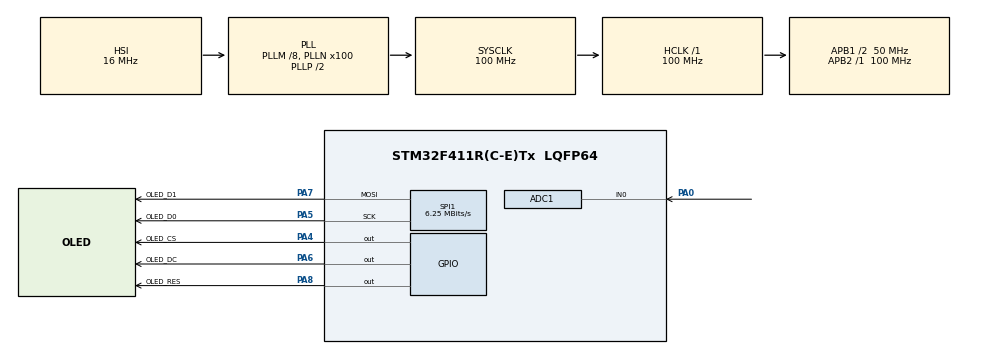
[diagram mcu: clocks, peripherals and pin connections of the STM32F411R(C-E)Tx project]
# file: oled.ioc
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ADC1.Channel-1\#ChannelRegularConversion=ADC_CHANNEL_0
ADC1.ClockPrescaler=ADC_CLOCK_SYNC_PCLK_DIV8
ADC1.DMAContinuousRequests=ENABLE
ADC1.ExternalTrigConv=ADC_EXTERNALTRIGCONV_T2_TRGO
ADC1.InjNumberOfConversion=0
ADC1.NbrOfConversionFlag=1
ADC1.Rank-1\#ChannelRegularConversion=1
ADC1.SamplingTime-1\#ChannelRegularConversion=ADC_SAMPLETIME_3CYCLES
ADC1.master=1
Dma.ADC1.0.Direction=DMA_PERIPH_TO_MEMORY
Dma.ADC1.0.FIFOMode=DMA_FIFOMODE_DISABLE
Dma.ADC1.0.Instance=DMA2_Stream0
Dma.ADC1.0.MemDataAlignment=DMA_MDATAALIGN_HALFWORD
Dma.ADC1.0.MemInc=DMA_MINC_ENABLE
Dma.ADC1.0.Mode=DMA_CIRCULAR
Dma.ADC1.0.PeriphDataAlignment=DMA_PDATAALIGN_HALFWORD
Dma.ADC1.0.PeriphInc=DMA_PINC_DISABLE
Dma.ADC1.0.Priority=DMA_PRIORITY_LOW
Dma.Request0=ADC1
Mcu.Family=STM32F4
Mcu.Name=STM32F411R(C-E)Tx
Mcu.Package=LQFP64
NVIC.DMA2_Stream0_IRQn=true\:0\:0\:false\:false\:true\:false\:true\:true
NVIC.PriorityGroup=NVIC_PRIORITYGROUP_4
NVIC.TIM2_IRQn=true\:0\:0\:false\:false\:true\:true\:true\:true
PA0-WKUP.Signal=ADCx_IN0
PA4.GPIO_Label=OLED_CS
PA4.Signal=GPIO_Output
PA5.GPIO_Label=OLED_D0
PA5.Mode=TX_Only_Simplex_Unidirect_Master
PA5.Signal=SPI1_SCK
PA6.GPIO_Label=OLED_DC
PA6.Signal=GPIO_Output
PA7.GPIO_Label=OLED_D1
PA7.Mode=TX_Only_Simplex_Unidirect_Master
PA7.Signal=SPI1_MOSI
PA8.GPIO_Label=OLED_RES
PA8.Signal=GPIO_Output
ProjectManager.HeapSize=0x200
ProjectManager.StackSize=0x400
ProjectManager.TargetToolchain=STM32CubeIDE
RCC.48MHZClocksFreq_Value=50000000
RCC.AHBFreq_Value=100000000
RCC.APB1CLKDivider=RCC_HCLK_DIV2
RCC.APB1Freq_Value=50000000
RCC.APB1TimFreq_Value=100000000
RCC.APB2Freq_Value=100000000
RCC.APB2TimFreq_Value=100000000
RCC.CortexFreq_Value=100000000
RCC.HCLKFreq_Value=100000000
RCC.HSE_VALUE=25000000
RCC.HSI_VALUE=16000000
RCC.LSE_VALUE=32768
RCC.PLLM=8
RCC.PLLN=100
RCC.SYSCLKFreq_VALUE=100000000
RCC.SYSCLKSource=RCC_SYSCLKSOURCE_PLLCLK
RCC.VCOOutputFreq_Value=200000000
SH.ADCx_IN0.0=ADC1_IN0,IN0
SPI1.BaudRatePrescaler=SPI_BAUDRATEPRESCALER_16
SPI1.CLKPhase=SPI_PHASE_2EDGE
SPI1.CLKPolarity=SPI_POLARITY_HIGH
SPI1.CalculateBaudRate=6.25 MBits/s
SPI1.Direction=SPI_DIRECTION_2LINES
SPI1.Mode=SPI_MODE_MASTER
SPI1.VirtualType=VM_MASTER
TIM2.Period=25-1
TIM2.Prescaler=100-1
TIM2.TIM_MasterOutputTrigger=TIM_TRGO_UPDATE
VP_TIM2_VS_ClockSourceINT.Mode=Internal
board=custom

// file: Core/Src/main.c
/* USER CODE BEGIN Header */
/**
 ******************************************************************************
 * @file           : main.c
 * @brief          : Main program body
 ******************************************************************************
 * @attention
 *
 * Copyright (c) 2024 STMicroelectronics.
 * All rights reserved.
 *
 * This software is licensed under terms that can be found in the LICENSE file
 * in the root directory of this software component.
 * If no LICENSE file comes with this software, it is provided AS-IS.
 *
 ******************************************************************************
 */
/* USER CODE END Header */
#include "main.h"

/* USER CODE BEGIN Includes */
#include "u8g2/u8g2.h"
#include <math.h>
#include "arm_math.h"
/* USER CODE END Includes */

/* USER CODE BEGIN PD */
#define FFT_Length 1024

/* USER CODE END PD */

ADC_HandleTypeDef hadc1;
DMA_HandleTypeDef hdma_adc1;

SPI_HandleTypeDef hspi1;

TIM_HandleTypeDef htim2;

/* USER CODE BEGIN PV */
float32_t FFT_Input_Q15_f[50];
float32_t aFFT_Input_Q15[50];

/* USER CODE END PV */

void SystemClock_Config(void);
static void MX_GPIO_Init(void);
static void MX_DMA_Init(void);
static void MX_SPI1_Init(void);
static void MX_ADC1_Init(void);
static void MX_TIM2_Init(void);
/* USER CODE BEGIN PFP */
extern uint8_t u8x8_stm32_gpio_and_delay(u8x8_t *u8x8, uint8_t msg,
		uint8_t arg_int, void *arg_ptr);
extern uint8_t u8x8_byte_stm32_hw_spi(u8x8_t *u8x8, uint8_t msg,
		uint8_t arg_int, void *arg_ptr);
/* USER CODE END PFP */

/* USER CODE BEGIN 0 */
static u8g2_t u8g2;
uint32_t doConvert = 128;
//fft
#define SamplesFft 2048
#define SamplingRate 40000
uint16_t adValue[SamplesFft];
float32_t input[SamplesFft];
float32_t output[SamplesFft];

void HAL_TIM_PeriodElapsedCallback(TIM_HandleTypeDef *hTim) {
	if (doConvert > 0)
		doConvert--;
}
/* USER CODE END 0 */

int main(void)
{

  /* USER CODE BEGIN 1 */
			//arm_float_to_q15((float32_t*)&FFT_Input_Q15_f[0],(q15_t*)&aFFT_Input_Q15[0],FFT_Length*2);
  /* USER CODE END 1 */

  /* MCU Configuration--------------------------------------------------------*/

  /* Reset of all peripherals, Initializes the Flash interface and the Systick. */
  HAL_Init();

  /* Configure the system clock */
  SystemClock_Config();

  /* Initialize all configured peripherals */
  MX_GPIO_Init();
  MX_DMA_Init();
  MX_SPI1_Init();
  MX_ADC1_Init();
  MX_TIM2_Init();
  /* USER CODE BEGIN 2 */
	uint16_t adcValue[SamplesFft];
	HAL_ADC_Start_DMA(&hadc1, (uint32_t*) adcValue, SamplesFft);
	HAL_TIM_Base_Start_IT(&htim2);
	//setup ssd1306
	u8g2_Setup_ssd1306_128x64_noname_f(&u8g2, U8G2_R0, u8x8_byte_stm32_hw_spi,
			u8x8_stm32_gpio_and_delay);
	//init ssd1306
	u8g2_InitDisplay(&u8g2);
	u8g2_SetPowerSave(&u8g2, 0);
//
  u8g2_ClearBuffer(&u8g2);
//  u8g2_SetDrawColor(&u8g2, 1);
	// u8g2_SetFont(&u8g2, u8g2_font_5x7_mf);
	// u8g2_DrawStr(&u8g2, 0, 0, "Hello world");
	// korean font
//  u8g2_SetFont(&u8g2, u8g2_font_unifont_t_korean1);
//  u8g2_DrawUTF8(&u8g2, 2, 30, "?��?��? ?��?��구니?");
//  u8g2_SendBuffer(&u8g2);

  /* USER CODE END 2 */

  /* Infinite loop */
  /* USER CODE BEGIN WHILE */
	u8g2_SetDrawColor(&u8g2, 1);
	//initialize FFT
	arm_rfft_fast_instance_f32 fftInstance;
	arm_rfft_fast_init_f32(&fftInstance, SamplesFft);
	while (1) {
			if (doConvert==0){
			doConvert = SamplesFft;
			//date move
			for(int i=0; i<SamplesFft; i++){
				input[i] =(float32_t)adcValue[i];
			}
			//cal fft
			arm_rfft_fast_f32(&fftInstance,input,output,0);
			//search frequency
			float32_t magnitude[SamplesFft /2];
			arm_cmplx_mag_f32(output, magnitude, SamplesFft/2);

			uint32_t maxIndex = 0;
			float32_t maxValue = 0;
			for (int i =1; i<SamplesFft/2; i++){
				if(magnitude[i]>maxValue){
					maxValue = magnitude[i];
					maxIndex = i;
				}
			}

			float frequency = maxIndex *((float)SamplingRate/(float)SamplesFft);
			//align data
			uint32_t showData[128] = {0, };
			for(int i =0; i<128; i++){
				for(int j =0; j<8; j++){
					showData[i] += output[i*8+j];
				}
				showData[i] /= 64;
			}
			//show display
			u8g2_ClearBuffer(&u8g2);
			for (int x = 2; x < 128; x++) {
				if(showData[x] > 63) showData[x] = 63;
				u8g2_DrawLine(&u8g2, x,63,x, 64-showData[x]);
			}
			char str[20];
			sprintf(str, "%5d", (int)frequency);
			u8g2_DrawStr(&u8g2,70,10,str);
			u8g2_SendBuffer(&u8g2);
		}

    /* USER CODE END WHILE */

	}
}

void SystemClock_Config(void)
{
  RCC_OscInitTypeDef RCC_OscInitStruct = {0};
  RCC_ClkInitTypeDef RCC_ClkInitStruct = {0};

  /** Configure the main internal regulator output voltage
  */
  __HAL_RCC_PWR_CLK_ENABLE();
  __HAL_PWR_VOLTAGESCALING_CONFIG(PWR_REGULATOR_VOLTAGE_SCALE1);

  /** Initializes the RCC Oscillators according to the specified parameters
  * in the RCC_OscInitTypeDef structure.
  */
  RCC_OscInitStruct.OscillatorType = RCC_OSCILLATORTYPE_HSI;
  RCC_OscInitStruct.HSIState = RCC_HSI_ON;
  RCC_OscInitStruct.HSICalibrationValue = RCC_HSICALIBRATION_DEFAULT;
  RCC_OscInitStruct.PLL.PLLState = RCC_PLL_ON;
  RCC_OscInitStruct.PLL.PLLSource = RCC_PLLSOURCE_HSI;
  RCC_OscInitStruct.PLL.PLLM = 8;
  RCC_OscInitStruct.PLL.PLLN = 100;
  RCC_OscInitStruct.PLL.PLLP = RCC_PLLP_DIV2;
  RCC_OscInitStruct.PLL.PLLQ = 4;
  if (HAL_RCC_OscConfig(&RCC_OscInitStruct) != HAL_OK)
  {
    Error_Handler();
  }

  /** Initializes the CPU, AHB and APB buses clocks
  */
  RCC_ClkInitStruct.ClockType = RCC_CLOCKTYPE_HCLK|RCC_CLOCKTYPE_SYSCLK
                              |RCC_CLOCKTYPE_PCLK1|RCC_CLOCKTYPE_PCLK2;
  RCC_ClkInitStruct.SYSCLKSource = RCC_SYSCLKSOURCE_PLLCLK;
  RCC_ClkInitStruct.AHBCLKDivider = RCC_SYSCLK_DIV1;
  RCC_ClkInitStruct.APB1CLKDivider = RCC_HCLK_DIV2;
  RCC_ClkInitStruct.APB2CLKDivider = RCC_HCLK_DIV1;

  if (HAL_RCC_ClockConfig(&RCC_ClkInitStruct, FLASH_LATENCY_3) != HAL_OK)
  {
    Error_Handler();
  }
}

static void MX_ADC1_Init(void)
{

  ADC_ChannelConfTypeDef sConfig = {0};

  /** Configure the global features of the ADC (Clock, Resolution, Data Alignment and number of conversion)
  */
  hadc1.Instance = ADC1;
  hadc1.Init.ClockPrescaler = ADC_CLOCK_SYNC_PCLK_DIV8;
  hadc1.Init.Resolution = ADC_RESOLUTION_12B;
  hadc1.Init.ScanConvMode = DISABLE;
  hadc1.Init.ContinuousConvMode = DISABLE;
  hadc1.Init.DiscontinuousConvMode = DISABLE;
  hadc1.Init.ExternalTrigConvEdge = ADC_EXTERNALTRIGCONVEDGE_RISING;
  hadc1.Init.ExternalTrigConv = ADC_EXTERNALTRIGCONV_T2_TRGO;
  hadc1.Init.DataAlign = ADC_DATAALIGN_RIGHT;
  hadc1.Init.NbrOfConversion = 1;
  hadc1.Init.DMAContinuousRequests = ENABLE;
  hadc1.Init.EOCSelection = ADC_EOC_SINGLE_CONV;
  if (HAL_ADC_Init(&hadc1) != HAL_OK)
  {
    Error_Handler();
  }

  /** Configure for the selected ADC regular channel its corresponding rank in the sequencer and its sample time.
  */
  sConfig.Channel = ADC_CHANNEL_0;
  sConfig.Rank = 1;
  sConfig.SamplingTime = ADC_SAMPLETIME_3CYCLES;
  if (HAL_ADC_ConfigChannel(&hadc1, &sConfig) != HAL_OK)
  {
    Error_Handler();
  }

}

static void MX_SPI1_Init(void)
{

  /* SPI1 parameter configuration*/
  hspi1.Instance = SPI1;
  hspi1.Init.Mode = SPI_MODE_MASTER;
  hspi1.Init.Direction = SPI_DIRECTION_2LINES;
  hspi1.Init.DataSize = SPI_DATASIZE_8BIT;
  hspi1.Init.CLKPolarity = SPI_POLARITY_HIGH;
  hspi1.Init.CLKPhase = SPI_PHASE_2EDGE;
  hspi1.Init.NSS = SPI_NSS_SOFT;
  hspi1.Init.BaudRatePrescaler = SPI_BAUDRATEPRESCALER_16;
  hspi1.Init.FirstBit = SPI_FIRSTBIT_MSB;
  hspi1.Init.TIMode = SPI_TIMODE_DISABLE;
  hspi1.Init.CRCCalculation = SPI_CRCCALCULATION_DISABLE;
  hspi1.Init.CRCPolynomial = 10;
  if (HAL_SPI_Init(&hspi1) != HAL_OK)
  {
    Error_Handler();
  }

}

static void MX_TIM2_Init(void)
{

  TIM_ClockConfigTypeDef sClockSourceConfig = {0};
  TIM_MasterConfigTypeDef sMasterConfig = {0};

  htim2.Instance = TIM2;
  htim2.Init.Prescaler = 100-1;
  htim2.Init.CounterMode = TIM_COUNTERMODE_UP;
  htim2.Init.Period = 25-1;
  htim2.Init.ClockDivision = TIM_CLOCKDIVISION_DIV1;
  htim2.Init.AutoReloadPreload = TIM_AUTORELOAD_PRELOAD_DISABLE;
  if (HAL_TIM_Base_Init(&htim2) != HAL_OK)
  {
    Error_Handler();
  }
  sClockSourceConfig.ClockSource = TIM_CLOCKSOURCE_INTERNAL;
  if (HAL_TIM_ConfigClockSource(&htim2, &sClockSourceConfig) != HAL_OK)
  {
    Error_Handler();
  }
  sMasterConfig.MasterOutputTrigger = TIM_TRGO_UPDATE;
  sMasterConfig.MasterSlaveMode = TIM_MASTERSLAVEMODE_DISABLE;
  if (HAL_TIMEx_MasterConfigSynchronization(&htim2, &sMasterConfig) != HAL_OK)
  {
    Error_Handler();
  }

}

static void MX_DMA_Init(void)
{

  /* DMA controller clock enable */
  __HAL_RCC_DMA2_CLK_ENABLE();

  /* DMA interrupt init */
  /* DMA2_Stream0_IRQn interrupt configuration */
  HAL_NVIC_SetPriority(DMA2_Stream0_IRQn, 0, 0);
  HAL_NVIC_EnableIRQ(DMA2_Stream0_IRQn);

}

static void MX_GPIO_Init(void)
{
  GPIO_InitTypeDef GPIO_InitStruct = {0};

  /* GPIO Ports Clock Enable */
  __HAL_RCC_GPIOA_CLK_ENABLE();

  /*Configure GPIO pin Output Level */
  HAL_GPIO_WritePin(GPIOA, OLED_CS_Pin|OLED_DC_Pin|OLED_RES_Pin, GPIO_PIN_RESET);

  /*Configure GPIO pins : OLED_CS_Pin OLED_DC_Pin OLED_RES_Pin */
  GPIO_InitStruct.Pin = OLED_CS_Pin|OLED_DC_Pin|OLED_RES_Pin;
  GPIO_InitStruct.Mode = GPIO_MODE_OUTPUT_PP;
  GPIO_InitStruct.Pull = GPIO_NOPULL;
  GPIO_InitStruct.Speed = GPIO_SPEED_FREQ_LOW;
  HAL_GPIO_Init(GPIOA, &GPIO_InitStruct);

}

void Error_Handler(void)
{
	__disable_irq();
	while (1) {
	}
}
